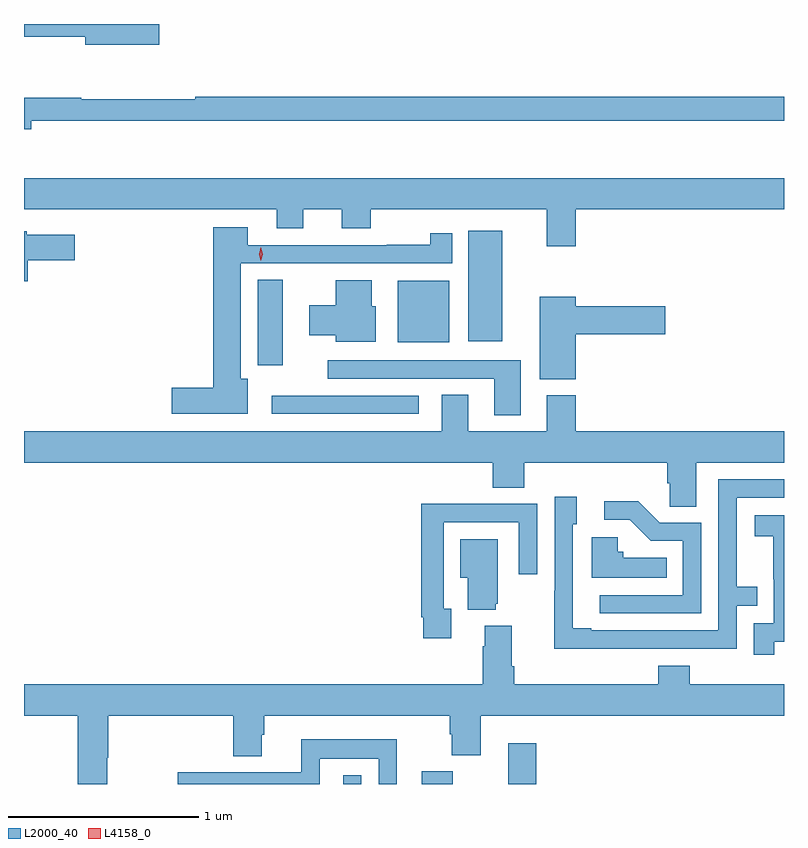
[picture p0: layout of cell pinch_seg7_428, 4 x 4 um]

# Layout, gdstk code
import gdstk
lib = gdstk.Library(unit=1e-6, precision=1e-09)
def R(c, l, rs):  # rectangles x0, y0, x1, y1
    for r in rs: c.add(gdstk.rectangle(r[:2], r[2:], *l))
def P(c, l, *ps):  # polygons
    for p in ps: c.add(gdstk.Polygon(p, *l))
L2000_40 = (2000, 40)
L4158_0 = (4158, 0)

pinch_seg7_428 = lib.new_cell('pinch_seg7_428')
R(pinch_seg7_428, L2000_40, [(364.503,1044.212,364.599,1044.259), (364.916,1044.212,365.08,1044.279), (365.372,1044.212,365.519,1044.427), (364.128,1046.16,364.9,1046.256), (364.052,1046.415,364.186,1046.867), (364.79,1046.537,365.062,1046.86), (365.162,1046.543,365.341,1047.124)])
P(pinch_seg7_428, L2000_40, [(363.535,1048.212),(362.823,1048.212),(362.823,1048.146),(363.146,1048.146),(363.146,1048.103),(363.535,1048.103)],
  [(362.86,1047.702),(366.823,1047.702),(366.823,1047.83),(363.725,1047.83),(363.725,1047.815),(363.125,1047.815),(363.125,1047.823),(362.823,1047.823),(362.823,1047.659),(362.86,1047.659)],
  [(365.726,1047.236),(366.823,1047.236),(366.823,1047.4),(362.823,1047.4),(362.823,1047.236),(364.154,1047.236),(364.154,1047.137),(364.294,1047.137),(364.294,1047.236),(364.496,1047.236),(364.496,1047.137),(364.649,1047.137),(364.649,1047.236),(365.573,1047.236),(365.573,1047.042),(365.726,1047.042)],
  [(364,1046.344),(363.964,1046.344),(363.964,1046.952),(365.077,1046.952),(365.077,1047.112),(364.96,1047.112),(364.96,1047.05),(364.732,1047.05),(364.732,1047.048),(364,1047.048),(364,1047.142),(363.818,1047.142),(363.818,1046.297),(363.6,1046.297),(363.6,1046.162),(364,1046.162)],
  [(362.842,1046.969),(363.091,1046.969),(363.091,1047.103),(362.838,1047.103),(362.838,1047.121),(362.823,1047.121),(362.823,1046.858),(362.842,1046.858)],
  [(364.675,1046.727),(364.654,1046.727),(364.654,1046.863),(364.463,1046.863),(364.463,1046.731),(364.323,1046.731),(364.323,1046.573),(364.463,1046.573),(364.463,1046.54),(364.675,1046.54)],
  [(365.728,1046.579),(366.199,1046.579),(366.199,1046.726),(365.728,1046.726),(365.728,1046.776),(365.537,1046.776),(365.537,1046.342),(365.728,1046.342)],
  [(365.437,1046.442),(364.422,1046.442),(364.422,1046.346),(365.297,1046.346),(365.297,1046.154),(365.437,1046.154)],
  [(366.361,1045.904),(366.823,1045.904),(366.823,1046.068),(365.726,1046.068),(365.726,1046.257),(365.573,1046.257),(365.573,1046.068),(365.161,1046.068),(365.161,1046.261),(365.021,1046.261),(365.021,1046.068),(362.823,1046.068),(362.823,1045.904),(365.291,1045.904),(365.291,1045.771),(365.456,1045.771),(365.456,1045.904),(366.209,1045.904),(366.209,1045.795),(366.222,1045.795),(366.222,1045.672),(366.361,1045.672)],
  [(366.077,1044.924),(366.573,1044.924),(366.573,1045.149),(366.683,1045.149),(366.683,1045.25),(366.573,1045.25),(366.573,1045.719),(366.823,1045.719),(366.823,1045.815),(366.477,1045.815),(366.477,1045.02),(365.809,1045.02),(365.809,1045.033),(365.712,1045.033),(365.712,1045.578),(365.731,1045.578),(365.731,1045.723),(365.616,1045.723),(365.616,1045.229),(365.614,1045.229),(365.614,1044.923),(366.077,1044.923)],
  [(366.387,1045.587),(366.168,1045.587),(366.055,1045.7),(365.877,1045.7),(365.877,1045.602),(366.011,1045.602),(366.122,1045.491),(366.291,1045.491),(366.291,1045.206),(365.853,1045.206),(365.853,1045.11),(366.387,1045.11)],
  [(365.071,1045.134),(365.031,1045.134),(365.031,1045.59),(365.427,1045.59),(365.427,1045.317),(365.523,1045.317),(365.523,1045.686),(365.207,1045.686),(365.207,1045.688),(364.915,1045.688),(364.915,1045.09),(364.923,1045.09),(364.923,1044.978),(365.071,1044.978)],
  [(366.772,1044.961),(366.823,1044.961),(366.823,1045.627),(366.669,1045.627),(366.669,1045.517),(366.767,1045.517),(366.767,1045.289),(366.768,1045.289),(366.768,1045.059),(366.663,1045.059),(366.663,1044.891),(366.772,1044.891)],
  [(366.206,1045.402),(365.976,1045.402),(365.976,1045.434),(365.949,1045.434),(365.949,1045.51),(365.81,1045.51),(365.81,1045.298),(366.206,1045.298)],
  [(365.306,1045.161),(365.317,1045.161),(365.317,1045.501),(365.12,1045.501),(365.12,1045.298),(365.159,1045.298),(365.159,1045.13),(365.306,1045.13)],
  [(363.261,1044.35),(363.266,1044.35),(363.266,1044.572),(363.923,1044.572),(363.923,1044.359),(364.075,1044.359),(364.075,1044.471),(364.088,1044.471),(364.088,1044.572),(365.063,1044.572),(365.063,1044.473),(365.075,1044.473),(365.075,1044.364),(365.228,1044.364),(365.228,1044.572),(366.823,1044.572),(366.823,1044.736),(366.326,1044.736),(366.326,1044.835),(366.161,1044.835),(366.161,1044.736),(365.402,1044.736),(365.402,1044.832),(365.389,1044.832),(365.389,1045.045),(365.249,1045.045),(365.249,1044.938),(365.237,1044.938),(365.237,1044.736),(362.823,1044.736),(362.823,1044.572),(363.106,1044.572),(363.106,1044.212),(363.261,1044.212)],
  [(364.38,1044.344),(364.689,1044.344),(364.689,1044.212),(364.786,1044.212),(364.786,1044.448),(364.283,1044.448),(364.283,1044.274),(363.633,1044.274),(363.633,1044.212),(364.38,1044.212)])
P(pinch_seg7_428, L4158_0, [(364.07,1046.965),(364.07,1046.965),(364.06,1047.001),(364.07,1047.037),(364.07,1047.037),(364.07,1047.037),(364.08,1047.001),(364.07,1046.965)])

lib.write_gds('pinch_seg7_428.gds')
